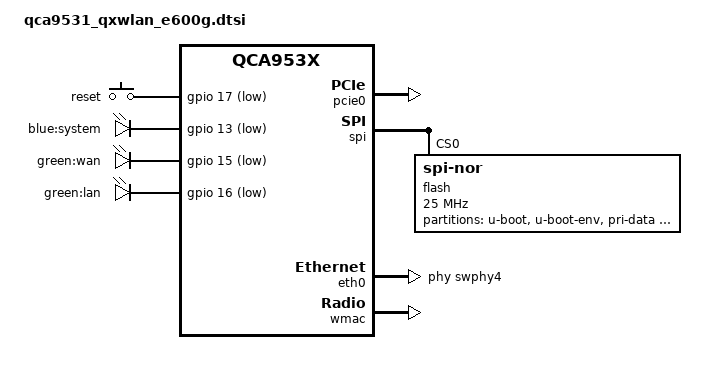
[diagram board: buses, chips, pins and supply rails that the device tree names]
// SPDX-License-Identifier: GPL-2.0-or-later OR MIT

#include "qca953x.dtsi"

#include <dt-bindings/gpio/gpio.h>
#include <dt-bindings/input/input.h>

/ {
	aliases {
		label-mac-device = &eth0;
		led-boot = &led_system;
		led-failsafe = &led_system;
		led-running = &led_system;
		led-upgrade = &led_system;
	};

	keys: keys {
		compatible = "gpio-keys";

		reset {
			label = "reset";
			linux,code = <KEY_RESTART>;
			gpios = <&gpio 17 GPIO_ACTIVE_LOW>;
			debounce-interval = <60>;
		};
	};

	leds: leds {
		compatible = "gpio-leds";

		led_system: system {
			label = "blue:system";
			gpios = <&gpio 13 GPIO_ACTIVE_LOW>;
			default-state = "on";
		};

		wan {
			label = "green:wan";
			gpios = <&gpio 15 GPIO_ACTIVE_LOW>;
		};

		lan {
			label = "green:lan";
			gpios = <&gpio 16 GPIO_ACTIVE_LOW>;
		};
	};
};

&pcie0 {
	status = "okay";
};

&spi {
	status = "okay";

	flash@0 {
		compatible = "jedec,spi-nor";
		reg = <0>;
		spi-max-frequency = <25000000>;

		partitions: partitions {
			compatible = "fixed-partitions";
			#address-cells = <1>;
			#size-cells = <1>;

			partition@0 {
				label = "u-boot";
				reg = <0x000000 0x040000>;
				read-only;
			};

			partition@40000 {
				label = "u-boot-env";
				reg = <0x040000 0x010000>;
				read-only;
			};

			pridata: partition@50000 {
				label = "pri-data";
				reg = <0x050000 0x010000>;
				read-only;
			};

			art: partition@60000 {
				label = "art";
				reg = <0x060000 0x010000>;
				read-only;
			};
		};
	};
};

&eth0 {
	status = "okay";

	phy-handle = <&swphy4>;

	nvmem-cells = <&macaddr_pridata_400>;
	nvmem-cell-names = "mac-address";
	mac-address-increment = <1>;
};

&eth1 {
	nvmem-cells = <&macaddr_pridata_400>;
	nvmem-cell-names = "mac-address";
};

&wmac {
	status = "okay";

	mtd-cal-data = <&art 0x1000>;
};

&pridata {
	compatible = "nvmem-cells";
	#address-cells = <1>;
	#size-cells = <1>;

	macaddr_pridata_400: macaddr@400 {
		reg = <0x400 0x6>;
	};
};
